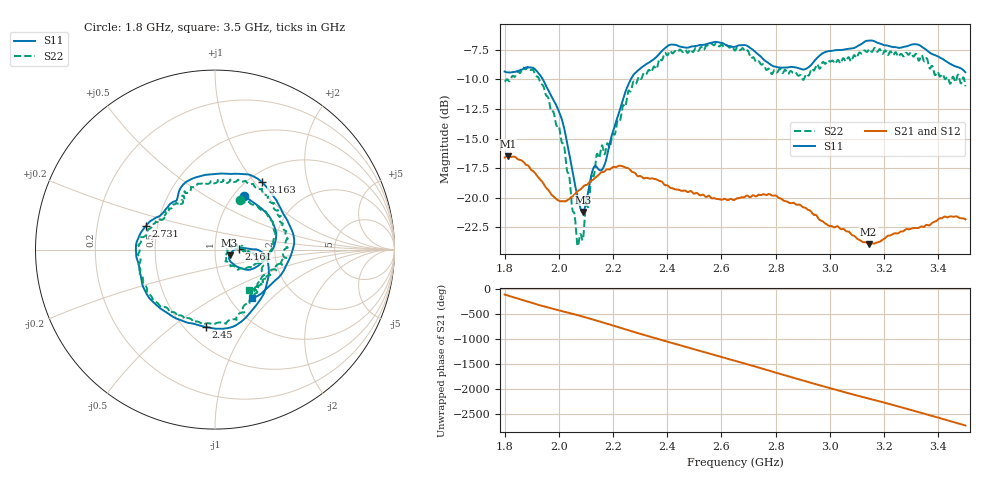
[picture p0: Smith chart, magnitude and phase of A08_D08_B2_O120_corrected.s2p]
! Created with skrf 1.9.0 (http://scikit-rf.org).
# Hz S RI R 50.0
!freq ReS11 ImS11 ReS21 ImS21 ReS12 ImS12 ReS22 ImS22
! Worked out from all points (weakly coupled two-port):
!   1601 points, 1.8 GHz to 3.5 GHz, reference 50 ohm
!   highest |S21| = -16.50 dB at 1.812 GHz (marker M1); lowest = -23.9 dB at 3.143 GHz (marker M2)
!   lowest |S11| = -21.2 dB at 2.089 GHz (marker M3), VSWR 1.19, Z = 58.7 - j3.7 ohm
!   |S11| at or under -10 dB: 1.941 GHz to 2.266 GHz (324.8 MHz wide, 15.4 % of centre)
!   |S22| runs from -24.1 to -7.0 dB; largest |S21 - S12| = 0.003
!   S11 on the Smith chart (normalised r, x): 1.8 GHz: 1.12, +0.76; 2.161 GHz: 1.30, +0.01; 2.45 GHz: 0.63, -0.67; 2.731 GHz: 0.43, +0.14; 3.163 GHz: 1.16, +1.10; 3.5 GHz: 1.27, -0.77
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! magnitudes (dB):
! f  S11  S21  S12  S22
! 1.8 GHz  -9.3  -16.6  -16.6  -10.2
! 1.812 GHz  -9.4  -16.5  -16.5  -10.0
! 1.888 GHz  -9.0  -17.3  -17.4  -9.0
! 1.941 GHz  -10.0  -18.7  -18.7  -10.5
! 2.011 GHz  -13.4  -20.3  -20.3  -15.4
! 2.067 GHz  -19.6  -19.5  -19.5  -23.7
! 2.084 GHz  -21.1  -19.2  -19.2  -23.3
! 2.089 GHz  -21.2  -19.1  -19.1  -23.5
! 2.127 GHz  -17.5  -18.5  -18.5  -18.2
! 2.161 GHz  -17.6  -17.8  -17.8  -15.6
! 2.262 GHz  -10.2  -17.6  -17.6  -11.0
! 2.367 GHz  -7.9  -18.5  -18.5  -8.5
! 2.45 GHz  -7.3  -19.4  -19.4  -7.5
! 2.65 GHz  -7.3  -20.2  -20.1  -7.6
! 2.731 GHz  -7.8  -19.8  -19.9  -8.5
! 2.809 GHz  -9.0  -20.0  -19.9  -9.3
! 2.934 GHz  -8.7  -21.3  -21.2  -9.1
! 3.143 GHz  -6.7  -23.9  -23.8  -7.5
! 3.163 GHz  -6.8  -23.9  -23.8  -7.4
! 3.217 GHz  -7.2  -23.2  -23.2  -7.9
! 3.326 GHz  -7.1  -22.5  -22.5  -8.3
! 3.5 GHz  -9.4  -21.8  -21.8  -10.6
